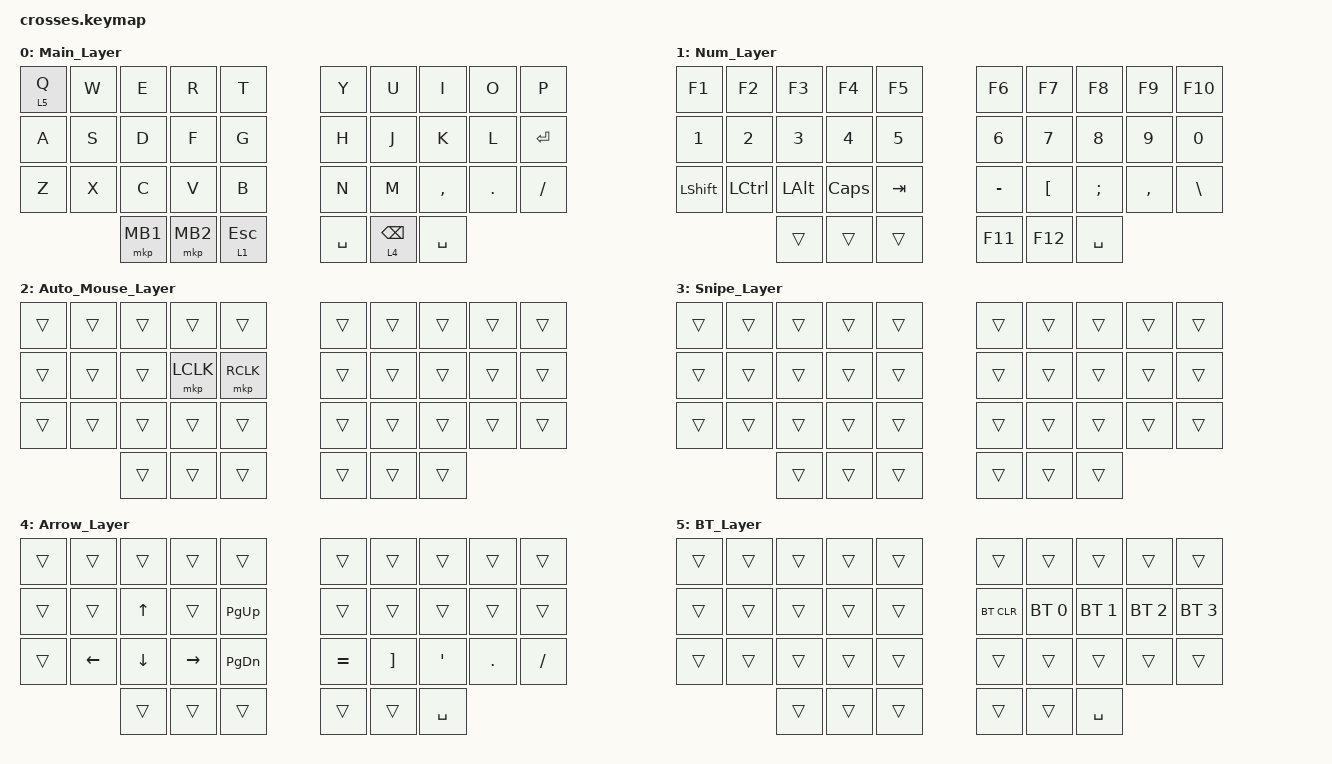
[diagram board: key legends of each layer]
#include <behaviors.dtsi>
#include <dt-bindings/zmk/bt.h>
#include <dt-bindings/zmk/keys.h>
#include <dt-bindings/zmk/pointing.h>

&lt {
    tapping-term-ms = <200>;
    flavor = "balanced";
    quick-tap-ms = <150>;
};

/ {
    keymap {
        compatible = "zmk,keymap";

        Main_Layer {
            bindings = <
&lt 5 Q  &kp W  &kp E     &kp R     &kp T        &kp Y      &kp U            &kp I      &kp O    &kp P
&kp A    &kp S  &kp D     &kp F     &kp G        &kp H      &kp J            &kp K      &kp L    &kp ENTER
&kp Z    &kp X  &kp C     &kp V     &kp B        &kp N      &kp M            &kp COMMA  &kp DOT  &kp FSLH
                &mkp MB1  &mkp MB2  &lt 1 ESC    &kp SPACE  &lt 4 BACKSPACE  &kp SPACE
            >;
        };

        Num_Layer {
            bindings = <
&kp F1          &kp F2     &kp F3        &kp F4    &kp F5     &kp F6     &kp F7            &kp F8         &kp F9     &kp F10
&kp N1          &kp N2     &kp N3        &kp N4    &kp N5     &kp N6     &kp N7            &kp N8         &kp N9     &kp N0
&kp LEFT_SHIFT  &kp LCTRL  &kp LEFT_ALT  &kp CAPS  &kp TAB    &kp MINUS  &kp LEFT_BRACKET  &kp SEMICOLON  &kp COMMA  &kp BACKSLASH
                           &trans        &trans    &trans     &kp F11    &kp F12           &kp SPACE
            >;
        };

        Auto_Mouse_Layer {
            bindings = <
&trans  &trans  &trans  &trans     &trans       &trans  &trans  &trans  &trans  &trans
&trans  &trans  &trans  &mkp LCLK  &mkp RCLK    &trans  &trans  &trans  &trans  &trans
&trans  &trans  &trans  &trans     &trans       &trans  &trans  &trans  &trans  &trans
                &trans  &trans     &trans       &trans  &trans  &trans
            >;
        };

        Snipe_Layer {
            bindings = <
&trans  &trans  &trans  &trans  &trans    &trans  &trans  &trans  &trans  &trans
&trans  &trans  &trans  &trans  &trans    &trans  &trans  &trans  &trans  &trans
&trans  &trans  &trans  &trans  &trans    &trans  &trans  &trans  &trans  &trans
                &trans  &trans  &trans    &trans  &trans  &trans
            >;
        };

        Arrow_Layer {
            bindings = <
&trans  &trans          &trans          &trans           &trans           &trans     &trans    &trans     &trans      &trans
&trans  &trans          &kp UP_ARROW    &trans           &kp PAGE_UP      &trans     &trans    &trans     &trans      &trans
&trans  &kp LEFT_ARROW  &kp DOWN_ARROW  &kp RIGHT_ARROW  &kp PAGE_DOWN    &kp EQUAL  &kp RBKT  &kp SQT    &kp PERIOD  &kp SLASH
                        &trans          &trans           &trans           &trans     &trans    &kp SPACE
            >;
        };

        BT_Layer {
            bindings = <
&trans  &trans  &trans  &trans  &trans    &trans      &trans        &trans        &trans        &trans
&trans  &trans  &trans  &trans  &trans    &bt BT_CLR  &bt BT_SEL 0  &bt BT_SEL 1  &bt BT_SEL 2  &bt BT_SEL 3
&trans  &trans  &trans  &trans  &trans    &trans      &trans        &trans        &trans        &trans
                &trans  &trans  &trans    &trans      &trans        &kp SPACE
            >;
        };

        /* layer_2 {
            bindings = <
&none  &none   &none    &none   &none         &none         &kp N1         &none         &none     &none  &none   &to 0
&none  &none   &none    &none   &none         &none         &none         &none          &rgb_ug RGB_BRD &rgb_ug RGB_BRI  &rgb_ug RGB_EFF   &rgb_ug RGB_TOG
&none  &none   &none    &none   &none         &none         &none         &mkp LCLK     &mkp RCLK  &none  &none   &none
&none  &none   &none    &none   &bt BT_NXT  &bt BT_CLR    &none         &none         &none     &none  &none   &none
                                   &none         &none         &none         &none         &none
                                                 &none         &none         &none
            >;
       
            
        };

       Mouse {
            bindings = <
&none        &none         &none         &none         &none      &none         &none       &none      &none         &none         &none         &none
&none        &bt BT_SEL 0  &bt BT_SEL 1  &bt BT_SEL 3  &none      &bt BT_CLR    &bt BT_CLR  &none      &bt BT_SEL 2  &bt BT_SEL 1  &bt BT_SEL 0  &none
&none        &trans        &trans        &mkp MCLK     &trans     &none         &none       &trans     &mkp MCLK     &trans        &trans        &none
&bootloader  &trans        &mkp RCLK     &mo 4         &mkp LCLK  &mo 5         &mo 5       &mkp LCLK  &mo 4         &mkp RCLK     &trans        &bootloader
                                         &mo 5         &mkp LCLK  &mkp RCLK     &mkp RCLK   &mkp LCLK
                                                       &none      &trans        &trans
            >;

            
        };

        layer_4 {
            bindings = <
&trans  &trans  &trans     &trans     &trans     &trans       &trans     &trans     &trans     &trans     &trans  &trans
&trans  &trans  &trans     &trans     &trans     &trans       &trans     &trans     &trans     &trans     &trans  &trans
&trans  &trans  &trans     &mkp MCLK  &trans     &trans       &trans     &trans     &mkp MCLK  &trans     &trans  &trans
&trans  &trans  &mkp RCLK  &trans     &mkp LCLK  &trans       &trans     &mkp LCLK  &trans     &mkp RCLK  &trans  &trans
                           &trans     &mkp LCLK  &mkp RCLK    &mkp RCLK  &mkp LCLK
                                      &trans     &trans       &trans
            >;
                
                
               
        };

        layer_5 {
            bindings = <
&trans  &trans  &trans     &trans     &trans     &trans       &trans     &trans     &trans     &trans     &trans  &trans
&trans  &trans  &trans     &trans     &trans     &trans       &trans     &trans     &trans     &trans     &trans  &trans
&trans  &trans  &trans     &mkp MCLK  &trans     &trans       &trans     &trans     &mkp MCLK  &trans     &trans  &trans
&trans  &trans  &mkp RCLK  &trans     &mkp LCLK  &trans       &trans     &mkp LCLK  &trans     &mkp RCLK  &trans  &trans
                           &trans     &mkp LCLK  &mkp RCLK    &mkp RCLK  &mkp LCLK
                                      &trans     &trans       &trans
            >;
                
                
        };*/
    };
};
